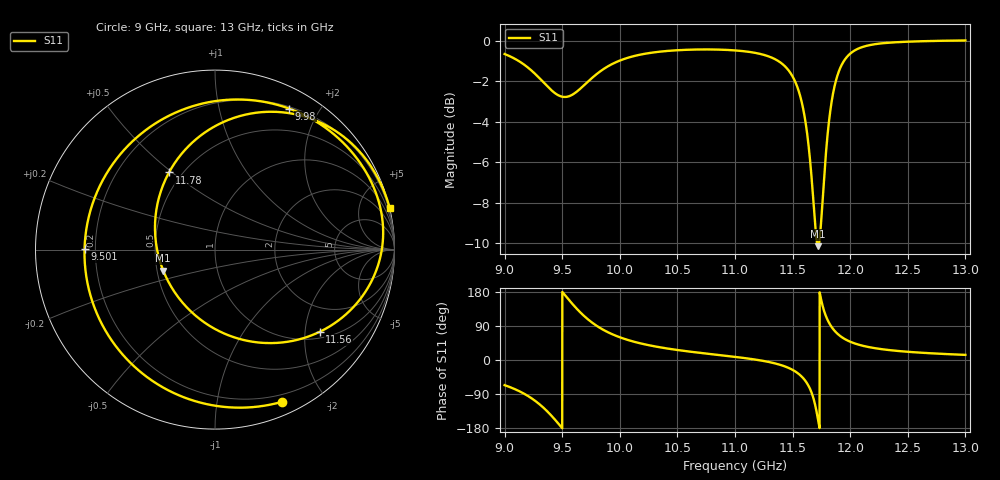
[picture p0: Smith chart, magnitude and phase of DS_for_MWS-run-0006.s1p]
! TOUCHSTONE file generated by CST DESIGN STUDIO
! Date and time: Tue Feb  4 16:26:41 2025
! Project name: C:\Work\MatlabApps\UnitCellOptimizationMatlab\CST\unitcell.cst
! Tree item: Tasks\Sweep1\SPara1\S-Parameters
! Header version: 2024
! Port assignment regex: !\s*Touchstone port\s*([0-9]+)\s*=\s*(CST MWS port|CST DES external port|CST DES block port)\s*(.+)\s* \(\"(.*)\"\)(\s*mode\s*([0-9]+))?.*
! Touchstone port assignment:
! Touchstone port 1 = CST DES external port 1 ("")
# GHz S MA R 50
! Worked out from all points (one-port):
!   4001 points, 9 GHz to 13 GHz, reference 50 ohm
!   lowest |S11| = -10.1 dB at 11.72 GHz (marker M1), VSWR 1.90, Z = 27 - j7.03 ohm
!   |S11| at or under -10 dB: 11.71299 GHz to 11.72969 GHz (16.7 MHz wide, 0.142 % of centre)
!   S11 on the Smith chart (normalised r, x): 9 GHz: 0.13, -1.52; 9.501 GHz: 0.16, +0.00; 9.98 GHz: 0.22, +1.63; 11.56 GHz: 1.17, -2.39; 11.78 GHz: 0.43, +0.49; 13 GHz: -0.01, +8.45
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9  0.9262 -66.4
9.162  0.8752 -87.7
9.279  0.8202 -111.0
9.381  0.7662 -138.8
9.5  0.727 -180.0
9.501  0.7269 179.7
9.617  0.7446 138.3
9.715  0.7879 109.4
9.827  0.8383 84.9
9.98  0.8877 62.3
10  0.8925 60.0
10.214  0.9272 41.5
10.5  0.9464 26.4
11  0.9454 8.3
11.326  0.9057 -7.4
11.5  0.8154 -26.1
11.559  0.7413 -38.2
11.652  0.5055 -76.7
11.686  0.3831 -106.5
11.721  0.3113 -157.8
11.751  0.3686 154.8
11.783  0.5004 120.8
11.821  0.6503 95.7
11.863  0.7688 77.6
12  0.9282 48.2
12.182  0.9759 32.9
12.5  0.9934 21.7
13  1 13.5
